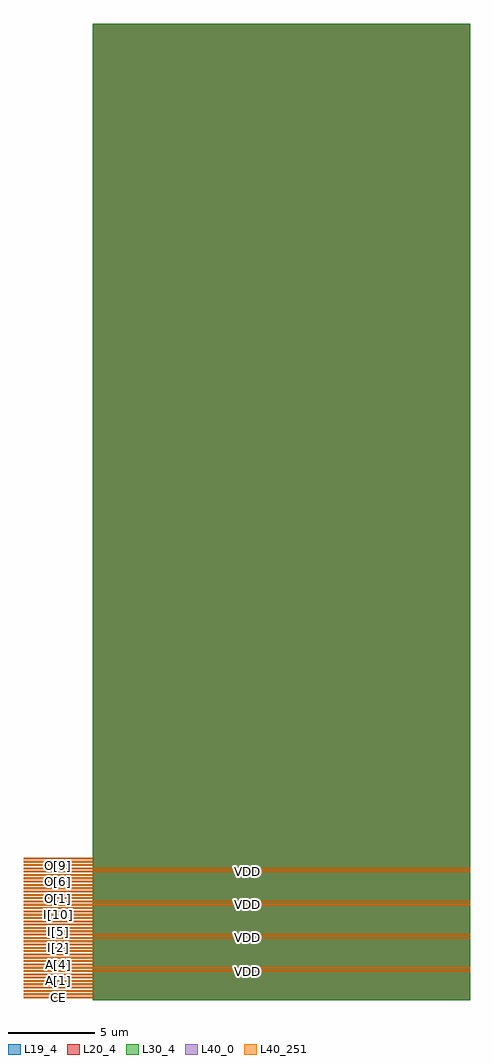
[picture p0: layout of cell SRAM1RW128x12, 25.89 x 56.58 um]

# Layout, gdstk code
import gdstk
lib = gdstk.Library(unit=1e-6, precision=1e-09)
def R(c, l, rs):  # rectangles x0, y0, x1, y1
    for r in rs: c.add(gdstk.rectangle(r[:2], r[2:], *l))
def A(c, l, x, y, w, h, nx, ny, dx, dy):  # array of equal rectangles
    R(c, l, [(x+i*dx, y+j*dy, x+i*dx+w, y+j*dy+h) for i in range(nx) for j in range(ny)])
L19_4 = (19, 4)
L20_4 = (20, 4)
L30_4 = (30, 4)
L40_0 = (40, 0)
L40_251 = (40, 251)

sram1rw128x12 = lib.new_cell('SRAM1RW128x12')
R(sram1rw128x12, L19_4, [(4,0,25.888,56.584)])
R(sram1rw128x12, L20_4, [(4,0,25.888,56.584)])
R(sram1rw128x12, L30_4, [(4,0,25.888,56.584)])
A(sram1rw128x12, L40_0, 0, 0.096, 4, 0.096, 1, 8, 0, 0.192)
A(sram1rw128x12, L40_0, 0, 2.016, 4, 0.096, 1, 8, 0, 0.192)
A(sram1rw128x12, L40_0, 0, 3.936, 4, 0.096, 1, 8, 0, 0.192)
A(sram1rw128x12, L40_0, 0, 5.856, 4, 0.096, 1, 8, 0, 0.192)
A(sram1rw128x12, L40_0, 0, 7.776, 4, 0.096, 1, 3, 0, 0.192)
R(sram1rw128x12, L40_0, [(0,1.632,25.888,1.728), (0,1.824,25.888,1.92), (0,3.552,25.888,3.648), (0,3.744,25.888,3.84), (0,5.472,25.888,5.568), (0,5.664,25.888,5.76), (0,7.392,25.888,7.488), (0,7.584,25.888,7.68)])
A(sram1rw128x12, L40_251, 0, 0.096, 4, 0.096, 1, 8, 0, 0.192)
A(sram1rw128x12, L40_251, 0, 2.016, 4, 0.096, 1, 8, 0, 0.192)
A(sram1rw128x12, L40_251, 0, 3.936, 4, 0.096, 1, 8, 0, 0.192)
A(sram1rw128x12, L40_251, 0, 5.856, 4, 0.096, 1, 8, 0, 0.192)
A(sram1rw128x12, L40_251, 0, 7.776, 4, 0.096, 1, 3, 0, 0.192)
R(sram1rw128x12, L40_251, [(0,1.632,25.888,1.728), (0,1.824,25.888,1.92), (0,3.552,25.888,3.648), (0,3.744,25.888,3.84), (0,5.472,25.888,5.568), (0,5.664,25.888,5.76), (0,7.392,25.888,7.488), (0,7.584,25.888,7.68)])
sram1rw128x12.add(gdstk.Label('CE', (2,0.144), layer=40, texttype=0))
sram1rw128x12.add(gdstk.Label('WEB', (2,0.336), layer=40, texttype=0))
sram1rw128x12.add(gdstk.Label('OEB', (2,0.528), layer=40, texttype=0))
sram1rw128x12.add(gdstk.Label('CSB', (2,0.72), layer=40, texttype=0))
sram1rw128x12.add(gdstk.Label('A[0]', (2,0.912), layer=40, texttype=0))
sram1rw128x12.add(gdstk.Label('A[1]', (2,1.104), layer=40, texttype=0))
sram1rw128x12.add(gdstk.Label('A[2]', (2,1.296), layer=40, texttype=0))
sram1rw128x12.add(gdstk.Label('A[3]', (2,1.488), layer=40, texttype=0))
sram1rw128x12.add(gdstk.Label('A[4]', (2,2.064), layer=40, texttype=0))
sram1rw128x12.add(gdstk.Label('A[5]', (2,2.256), layer=40, texttype=0))
sram1rw128x12.add(gdstk.Label('A[6]', (2,2.448), layer=40, texttype=0))
sram1rw128x12.add(gdstk.Label('I[0]', (2,2.64), layer=40, texttype=0))
sram1rw128x12.add(gdstk.Label('I[1]', (2,2.832), layer=40, texttype=0))
sram1rw128x12.add(gdstk.Label('I[2]', (2,3.024), layer=40, texttype=0))
sram1rw128x12.add(gdstk.Label('I[3]', (2,3.216), layer=40, texttype=0))
sram1rw128x12.add(gdstk.Label('I[4]', (2,3.408), layer=40, texttype=0))
sram1rw128x12.add(gdstk.Label('I[5]', (2,3.984), layer=40, texttype=0))
sram1rw128x12.add(gdstk.Label('I[6]', (2,4.176), layer=40, texttype=0))
sram1rw128x12.add(gdstk.Label('I[7]', (2,4.368), layer=40, texttype=0))
sram1rw128x12.add(gdstk.Label('I[8]', (2,4.56), layer=40, texttype=0))
sram1rw128x12.add(gdstk.Label('I[9]', (2,4.752), layer=40, texttype=0))
sram1rw128x12.add(gdstk.Label('I[10]', (2,4.944), layer=40, texttype=0))
sram1rw128x12.add(gdstk.Label('I[11]', (2,5.136), layer=40, texttype=0))
sram1rw128x12.add(gdstk.Label('O[0]', (2,5.328), layer=40, texttype=0))
sram1rw128x12.add(gdstk.Label('O[1]', (2,5.904), layer=40, texttype=0))
sram1rw128x12.add(gdstk.Label('O[2]', (2,6.096), layer=40, texttype=0))
sram1rw128x12.add(gdstk.Label('O[3]', (2,6.288), layer=40, texttype=0))
sram1rw128x12.add(gdstk.Label('O[4]', (2,6.48), layer=40, texttype=0))
sram1rw128x12.add(gdstk.Label('O[5]', (2,6.672), layer=40, texttype=0))
sram1rw128x12.add(gdstk.Label('O[6]', (2,6.864), layer=40, texttype=0))
sram1rw128x12.add(gdstk.Label('O[7]', (2,7.056), layer=40, texttype=0))
sram1rw128x12.add(gdstk.Label('O[8]', (2,7.248), layer=40, texttype=0))
sram1rw128x12.add(gdstk.Label('O[9]', (2,7.824), layer=40, texttype=0))
sram1rw128x12.add(gdstk.Label('O[10]', (2,8.016), layer=40, texttype=0))
sram1rw128x12.add(gdstk.Label('O[11]', (2,8.208), layer=40, texttype=0))
sram1rw128x12.add(gdstk.Label('VDD', (12.944,1.68), layer=40, texttype=0))
sram1rw128x12.add(gdstk.Label('VDD', (12.944,3.6), layer=40, texttype=0))
sram1rw128x12.add(gdstk.Label('VDD', (12.944,5.52), layer=40, texttype=0))
sram1rw128x12.add(gdstk.Label('VDD', (12.944,7.44), layer=40, texttype=0))
sram1rw128x12.add(gdstk.Label('VSS', (12.944,1.872), layer=40, texttype=0))
sram1rw128x12.add(gdstk.Label('VSS', (12.944,3.792), layer=40, texttype=0))
sram1rw128x12.add(gdstk.Label('VSS', (12.944,5.712), layer=40, texttype=0))
sram1rw128x12.add(gdstk.Label('VSS', (12.944,7.632), layer=40, texttype=0))

lib.write_gds('SRAM1RW128x12.gds')
